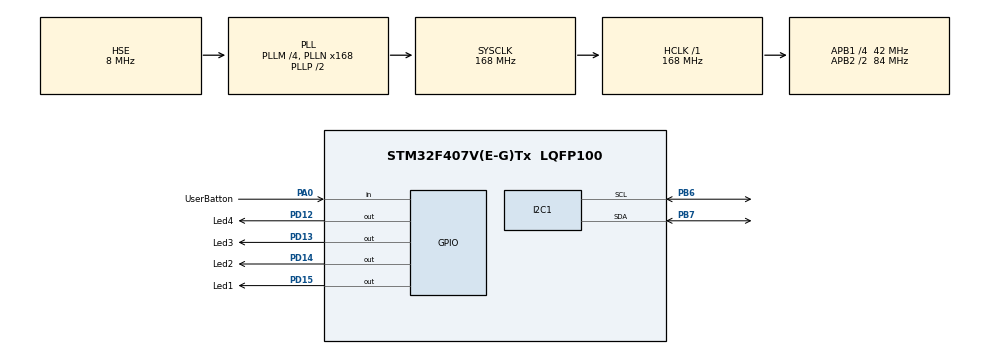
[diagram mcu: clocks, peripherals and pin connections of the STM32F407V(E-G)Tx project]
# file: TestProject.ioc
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Mcu.Family=STM32F4
Mcu.Name=STM32F407V(E-G)Tx
Mcu.Package=LQFP100
NVIC.PriorityGroup=NVIC_PRIORITYGROUP_4
PA0-WKUP.GPIO_Label=UserBatton
PA0-WKUP.Signal=GPIO_Input
PA13.Mode=Serial_Wire
PA13.Signal=SYS_JTMS-SWDIO
PA14.Mode=Serial_Wire
PA14.Signal=SYS_JTCK-SWCLK
PB6.Mode=I2C
PB6.Signal=I2C1_SCL
PB7.Mode=I2C
PB7.Signal=I2C1_SDA
PD12.GPIO_Label=Led4
PD12.Signal=GPIO_Output
PD13.GPIO_Label=Led3
PD13.Signal=GPIO_Output
PD14.GPIO_Label=Led2
PD14.Signal=GPIO_Output
PD15.GPIO_Label=Led1
PD15.Signal=GPIO_Output
PH0-OSC_IN.Mode=HSE-External-Oscillator
PH0-OSC_IN.Signal=RCC_OSC_IN
PH1-OSC_OUT.Mode=HSE-External-Oscillator
PH1-OSC_OUT.Signal=RCC_OSC_OUT
ProjectManager.HeapSize=0x200
ProjectManager.StackSize=0x400
ProjectManager.TargetToolchain=STM32CubeIDE
RCC.48MHZClocksFreq_Value=84000000
RCC.AHBFreq_Value=168000000
RCC.APB1CLKDivider=RCC_HCLK_DIV4
RCC.APB1Freq_Value=42000000
RCC.APB1TimFreq_Value=84000000
RCC.APB2CLKDivider=RCC_HCLK_DIV2
RCC.APB2Freq_Value=84000000
RCC.APB2TimFreq_Value=168000000
RCC.CortexFreq_Value=168000000
RCC.HCLKFreq_Value=168000000
RCC.HSE_VALUE=8000000
RCC.HSI_VALUE=16000000
RCC.LSE_VALUE=32768
RCC.PLLM=4
RCC.PLLN=168
RCC.PLLSourceVirtual=RCC_PLLSOURCE_HSE
RCC.SYSCLKFreq_VALUE=168000000
RCC.SYSCLKSource=RCC_SYSCLKSOURCE_PLLCLK
RCC.VCOOutputFreq_Value=336000000
board=custom

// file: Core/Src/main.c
/* USER CODE BEGIN Header */
/**
  ******************************************************************************
  * @file           : main.c
  * @brief          : Main program body
  ******************************************************************************
  * @attention
  *
  * Copyright (c) 2022 STMicroelectronics.
  * All rights reserved.
  *
  * This software is licensed under terms that can be found in the LICENSE file
  * in the root directory of this software component.
  * If no LICENSE file comes with this software, it is provided AS-IS.
  *
  ******************************************************************************
  */
/* USER CODE END Header */
#include "main.h"
#include "i2c.h"
#include "gpio.h"

/* USER CODE BEGIN Includes */
#include <stdio.h>
#include "I2C_Lcd.h"
/* USER CODE END Includes */

/* USER CODE BEGIN PV */
uint32_t lcdAddress = 0x7E;
/* USER CODE END PV */

void SystemClock_Config(void);

int main(void)
{
    /* USER CODE BEGIN 1 */
    uint8_t buf[100];
    /* USER CODE END 1 */

    /* MCU Configuration--------------------------------------------------------*/

    /* Reset of all peripherals, Initializes the Flash interface and the Systick. */
    HAL_Init();

    /* Configure the system clock */
    SystemClock_Config();

    /* Initialize all configured peripherals */
    MX_GPIO_Init();
    MX_I2C1_Init();
    /* USER CODE BEGIN 2 */
    I2C_Lcd_InitializationLibrary(hi2c1, (uint16_t)0x7E);
    HAL_Delay(100);
    I2C_Lcd_LcdInitialization();
    //I2C_Lcd_SetPosition(2, 2);
    HAL_Delay(1000);
    I2C_Lcd_SetCursor(0, 0);
    I2C_Lcd_Print_text("Test");
    I2C_Lcd_SetCursor(0, 1);
    I2C_Lcd_Print_text("IT");
    I2C_Lcd_Backlight(false);
    HAL_Delay(2000);
    I2C_Lcd_Backlight(true);
    I2C_Lcd_Clean();
    I2C_Lcd_Print_text("text");
    I2C_Lcd_Move_to_the_left();
    /* USER CODE END 2 */

    /* Infinite loop */
    /* USER CODE BEGIN WHILE */
    while(1)
    {
        HAL_GPIO_TogglePin(Led1_GPIO_Port, Led1_Pin);
        HAL_Delay(1111);
        /* USER CODE END WHILE */

    }
}

void SystemClock_Config(void)
{
    RCC_OscInitTypeDef RCC_OscInitStruct = {0};
    RCC_ClkInitTypeDef RCC_ClkInitStruct = {0};

    /** Configure the main internal regulator output voltage
    */
    __HAL_RCC_PWR_CLK_ENABLE();
    __HAL_PWR_VOLTAGESCALING_CONFIG(PWR_REGULATOR_VOLTAGE_SCALE1);

    /** Initializes the RCC Oscillators according to the specified parameters
    * in the RCC_OscInitTypeDef structure.
    */
    RCC_OscInitStruct.OscillatorType = RCC_OSCILLATORTYPE_HSE;
    RCC_OscInitStruct.HSEState = RCC_HSE_ON;
    RCC_OscInitStruct.PLL.PLLState = RCC_PLL_ON;
    RCC_OscInitStruct.PLL.PLLSource = RCC_PLLSOURCE_HSE;
    RCC_OscInitStruct.PLL.PLLM = 4;
    RCC_OscInitStruct.PLL.PLLN = 168;
    RCC_OscInitStruct.PLL.PLLP = RCC_PLLP_DIV2;
    RCC_OscInitStruct.PLL.PLLQ = 4;
    if(HAL_RCC_OscConfig(&RCC_OscInitStruct) != HAL_OK)
    {
        Error_Handler();
    }

    /** Initializes the CPU, AHB and APB buses clocks
    */
    RCC_ClkInitStruct.ClockType = RCC_CLOCKTYPE_HCLK | RCC_CLOCKTYPE_SYSCLK
                                  | RCC_CLOCKTYPE_PCLK1 | RCC_CLOCKTYPE_PCLK2;
    RCC_ClkInitStruct.SYSCLKSource = RCC_SYSCLKSOURCE_PLLCLK;
    RCC_ClkInitStruct.AHBCLKDivider = RCC_SYSCLK_DIV1;
    RCC_ClkInitStruct.APB1CLKDivider = RCC_HCLK_DIV4;
    RCC_ClkInitStruct.APB2CLKDivider = RCC_HCLK_DIV2;

    if(HAL_RCC_ClockConfig(&RCC_ClkInitStruct, FLASH_LATENCY_5) != HAL_OK)
    {
        Error_Handler();
    }
}

void Error_Handler(void)
{
    __disable_irq();
    while(1)
    {
    }
}
